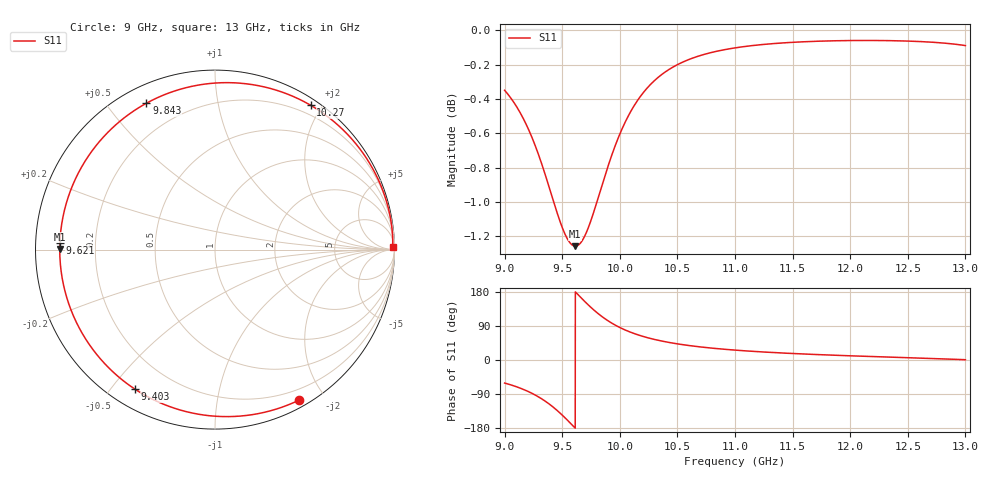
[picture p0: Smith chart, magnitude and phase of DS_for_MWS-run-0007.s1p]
! TOUCHSTONE file generated by CST DESIGN STUDIO
! Date and time: Tue Feb  4 18:11:16 2025
! Project name: C:\Work\MatlabApps\UnitCellOptimizationMatlab\CST\unitcell.cst
! Tree item: Tasks\Sweep1\SPara1\S-Parameters
! Header version: 2024
! Port assignment regex: !\s*Touchstone port\s*([0-9]+)\s*=\s*(CST MWS port|CST DES external port|CST DES block port)\s*(.+)\s* \(\"(.*)\"\)(\s*mode\s*([0-9]+))?.*
! Touchstone port assignment:
! Touchstone port 1 = CST DES external port 1 ("")
# GHz S MA R 50
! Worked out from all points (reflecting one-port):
!   4001 points, 9 GHz to 13 GHz, reference 50 ohm
!   lowest |S11| = -1.3 dB at 9.614 GHz (marker M1), VSWR 13.82, Z = 3.62 + j0.0913 ohm
!   phase of S11 starts at -61 deg and turns -298 deg over the sweep
!   S11 on the Smith chart (normalised r, x): 9 GHz: 0.08, -1.70; 9.403 GHz: 0.07, -0.58; 9.621 GHz: 0.07, +0.02; 9.843 GHz: 0.07, +0.63; 10.27 GHz: 0.08, +1.86; 13 GHz: open
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9  0.9606 -60.8
9.052  0.9558 -65.4
9.124  0.9476 -72.9
9.248  0.9288 -89.6
9.331  0.9123 -104.2
9.403  0.8963 -119.8
9.451  0.8857 -131.8
9.5  0.8761 -145.3
9.559  0.8678 -163.0
9.614  0.8651 179.8
9.621  0.8651 177.6
9.677  0.8687 160.1
9.74  0.8783 141.4
9.791  0.8889 127.7
9.843  0.9006 115.1
9.916  0.9167 99.9
10  0.9327 85.8
10.063  0.9426 77.1
10.128  0.9511 69.4
10.271  0.9647 56.5
10.378  0.9716 49.2
10.5  0.9772 42.6
10.72  0.9837 33.8
11  0.9883 26.1
11.5  0.992 17.1
12  0.9932 11.1
12.5  0.9928 6.1
13  0.9898 0.8
